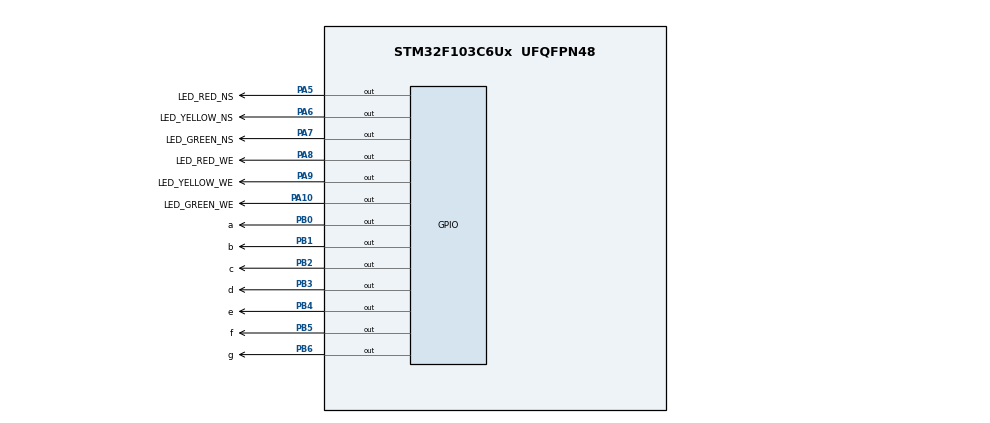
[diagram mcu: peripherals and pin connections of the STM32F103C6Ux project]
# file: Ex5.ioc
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Mcu.Family=STM32F1
Mcu.Name=STM32F103C6Ux
Mcu.Package=UFQFPN48
NVIC.PriorityGroup=NVIC_PRIORITYGROUP_4
PA10.GPIO_Label=LED_GREEN_WE
PA10.Signal=GPIO_Output
PA5.GPIO_Label=LED_RED_NS
PA5.Signal=GPIO_Output
PA6.GPIO_Label=LED_YELLOW_NS
PA6.Signal=GPIO_Output
PA7.GPIO_Label=LED_GREEN_NS
PA7.Signal=GPIO_Output
PA8.GPIO_Label=LED_RED_WE
PA8.Signal=GPIO_Output
PA9.GPIO_Label=LED_YELLOW_WE
PA9.Signal=GPIO_Output
PB0.GPIO_Label=a
PB0.Signal=GPIO_Output
PB1.GPIO_Label=b
PB1.Signal=GPIO_Output
PB2.GPIO_Label=c
PB2.Signal=GPIO_Output
PB3.GPIO_Label=d
PB3.Signal=GPIO_Output
PB4.GPIO_Label=e
PB4.Signal=GPIO_Output
PB5.GPIO_Label=f
PB5.Signal=GPIO_Output
PB6.GPIO_Label=g
PB6.Signal=GPIO_Output
ProjectManager.HeapSize=0x200
ProjectManager.StackSize=0x400
ProjectManager.TargetToolchain=STM32CubeIDE
RCC.APB1Freq_Value=8000000
RCC.APB2Freq_Value=8000000
VP_SYS_VS_ND.Mode=No_Debug
board=custom

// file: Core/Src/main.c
/* USER CODE BEGIN Header */
/**
  ******************************************************************************
  * @file           : main.c
  * @brief          : Main program body
  ******************************************************************************
  * @attention
  *
  * <h2><center>&copy; Copyright (c) 2024 STMicroelectronics.
  * All rights reserved.</center></h2>
  *
  * This software component is licensed by ST under BSD 3-Clause license,
  * the "License"; You may not use this file except in compliance with the
  * License. You may obtain a copy of the License at:
  *                        opensource.org/licenses/BSD-3-Clause
  *
  ******************************************************************************
  */
/* USER CODE END Header */
#include "main.h"

void SystemClock_Config(void);
static void MX_GPIO_Init(void);

void display7SEG(int num)
{
	//display 0
	if(num == 0){
		HAL_GPIO_WritePin(a_GPIO_Port, a_Pin, RESET);
		HAL_GPIO_WritePin(b_GPIO_Port, b_Pin, RESET);
		HAL_GPIO_WritePin(c_GPIO_Port, c_Pin, RESET);
		HAL_GPIO_WritePin(d_GPIO_Port, d_Pin, RESET);
		HAL_GPIO_WritePin(e_GPIO_Port, e_Pin, RESET);
		HAL_GPIO_WritePin(f_GPIO_Port, f_Pin, RESET);
		HAL_GPIO_WritePin(g_GPIO_Port, g_Pin, SET);
	}
	//display 1
	else if(num == 1){
		HAL_GPIO_WritePin(a_GPIO_Port, a_Pin, SET);
		HAL_GPIO_WritePin(b_GPIO_Port, b_Pin, RESET);
		HAL_GPIO_WritePin(c_GPIO_Port, c_Pin, RESET);
		HAL_GPIO_WritePin(d_GPIO_Port, d_Pin, SET);
		HAL_GPIO_WritePin(e_GPIO_Port, e_Pin, SET);
		HAL_GPIO_WritePin(f_GPIO_Port, f_Pin, SET);
		HAL_GPIO_WritePin(g_GPIO_Port, g_Pin, SET);
	}
	//display 2
	else if(num == 2){
		HAL_GPIO_WritePin(a_GPIO_Port, a_Pin, RESET);
		HAL_GPIO_WritePin(b_GPIO_Port, b_Pin, RESET);
		HAL_GPIO_WritePin(c_GPIO_Port, c_Pin, SET);
		HAL_GPIO_WritePin(d_GPIO_Port, d_Pin, RESET);
		HAL_GPIO_WritePin(e_GPIO_Port, e_Pin, RESET);
		HAL_GPIO_WritePin(f_GPIO_Port, f_Pin, SET);
		HAL_GPIO_WritePin(g_GPIO_Port, g_Pin, RESET);
	}
	//display 3
	else if(num == 3){
		HAL_GPIO_WritePin(a_GPIO_Port, a_Pin, RESET);
		HAL_GPIO_WritePin(b_GPIO_Port, b_Pin, RESET);
		HAL_GPIO_WritePin(c_GPIO_Port, c_Pin, RESET);
		HAL_GPIO_WritePin(d_GPIO_Port, d_Pin, RESET);
		HAL_GPIO_WritePin(e_GPIO_Port, e_Pin, SET);
		HAL_GPIO_WritePin(f_GPIO_Port, f_Pin, SET);
		HAL_GPIO_WritePin(g_GPIO_Port, g_Pin, RESET);
	}
	//display 4
	else if( num == 4){
		HAL_GPIO_WritePin(a_GPIO_Port, a_Pin, SET);
		HAL_GPIO_WritePin(b_GPIO_Port, b_Pin, RESET);
		HAL_GPIO_WritePin(c_GPIO_Port, c_Pin, RESET);
		HAL_GPIO_WritePin(d_GPIO_Port, d_Pin, SET);
		HAL_GPIO_WritePin(e_GPIO_Port, e_Pin, SET);
		HAL_GPIO_WritePin(f_GPIO_Port, f_Pin, RESET);
		HAL_GPIO_WritePin(g_GPIO_Port, g_Pin, RESET);
	}
	//display 5
	else if(num == 5){
		HAL_GPIO_WritePin(a_GPIO_Port, a_Pin, RESET);
		HAL_GPIO_WritePin(b_GPIO_Port, b_Pin, SET);
		HAL_GPIO_WritePin(c_GPIO_Port, c_Pin, RESET);
		HAL_GPIO_WritePin(d_GPIO_Port, d_Pin, RESET);
		HAL_GPIO_WritePin(e_GPIO_Port, e_Pin, SET);
		HAL_GPIO_WritePin(f_GPIO_Port, f_Pin, RESET);
		HAL_GPIO_WritePin(g_GPIO_Port, g_Pin, RESET);
	}
	//display 6
	else if(num == 6){
		HAL_GPIO_WritePin(a_GPIO_Port, a_Pin, RESET);
		HAL_GPIO_WritePin(b_GPIO_Port, b_Pin, SET);
		HAL_GPIO_WritePin(c_GPIO_Port, c_Pin, RESET);
		HAL_GPIO_WritePin(d_GPIO_Port, d_Pin, RESET);
		HAL_GPIO_WritePin(e_GPIO_Port, e_Pin, RESET);
		HAL_GPIO_WritePin(f_GPIO_Port, f_Pin, RESET);
		HAL_GPIO_WritePin(g_GPIO_Port, g_Pin, RESET);
	}
	//display 7
	else if(num == 7){
		HAL_GPIO_WritePin(a_GPIO_Port, a_Pin, RESET);
		HAL_GPIO_WritePin(b_GPIO_Port, b_Pin, RESET);
		HAL_GPIO_WritePin(c_GPIO_Port, c_Pin, RESET);
		HAL_GPIO_WritePin(d_GPIO_Port, d_Pin, SET);
		HAL_GPIO_WritePin(e_GPIO_Port, e_Pin, SET);
		HAL_GPIO_WritePin(f_GPIO_Port, f_Pin, SET);
		HAL_GPIO_WritePin(g_GPIO_Port, g_Pin, SET);
	}
	//display 8
	else if (num == 8 ){
		HAL_GPIO_WritePin(a_GPIO_Port, a_Pin, RESET);
		HAL_GPIO_WritePin(b_GPIO_Port, b_Pin, RESET);
		HAL_GPIO_WritePin(c_GPIO_Port, c_Pin, RESET);
		HAL_GPIO_WritePin(d_GPIO_Port, d_Pin, RESET);
		HAL_GPIO_WritePin(e_GPIO_Port, e_Pin, RESET);
		HAL_GPIO_WritePin(f_GPIO_Port, f_Pin, RESET);
		HAL_GPIO_WritePin(g_GPIO_Port, g_Pin, RESET);
	}
	//display 9
	else if (num == 9 ){
		HAL_GPIO_WritePin(a_GPIO_Port, a_Pin, RESET);
		HAL_GPIO_WritePin(b_GPIO_Port, b_Pin, RESET);
		HAL_GPIO_WritePin(c_GPIO_Port, c_Pin, RESET);
		HAL_GPIO_WritePin(d_GPIO_Port, d_Pin, RESET);
		HAL_GPIO_WritePin(e_GPIO_Port, e_Pin, SET);
		HAL_GPIO_WritePin(f_GPIO_Port, f_Pin, RESET);
		HAL_GPIO_WritePin(g_GPIO_Port, g_Pin, RESET);
	}
}
int main(void)
{

  /* MCU Configuration--------------------------------------------------------*/

  /* Reset of all peripherals, Initializes the Flash interface and the Systick. */
  HAL_Init();

  /* Configure the system clock */
  SystemClock_Config();

  /* Initialize all configured peripherals */
  MX_GPIO_Init();

  /* Infinite loop */
  /* USER CODE BEGIN WHILE */
  int Time = 3;
  int State = 0;
  int counter = 5;
  while (1)
  {

	  Time -= 1;
	  counter -= 1;
	  switch(State){
	  case 0: // NS: RED ON AND WE: GREEN ON 3S
		  HAL_GPIO_WritePin(LED_RED_NS_GPIO_Port, LED_RED_NS_Pin, GPIO_PIN_RESET);
		  HAL_GPIO_WritePin(LED_YELLOW_NS_GPIO_Port, LED_YELLOW_NS_Pin, GPIO_PIN_SET);
		  HAL_GPIO_WritePin(LED_GREEN_NS_GPIO_Port, LED_GREEN_NS_Pin, GPIO_PIN_SET);

		  HAL_GPIO_WritePin(LED_RED_WE_GPIO_Port, LED_RED_WE_Pin, GPIO_PIN_SET);
		  HAL_GPIO_WritePin(LED_YELLOW_WE_GPIO_Port, LED_YELLOW_WE_Pin, GPIO_PIN_SET);
		  HAL_GPIO_WritePin(LED_GREEN_WE_GPIO_Port, LED_GREEN_WE_Pin, GPIO_PIN_RESET);

		  display7SEG(counter);
		  if (Time <= 0){
			  Time = 2;
			  State = 1;
		  }
		  break;
	  case 1: // WE: RED ON AND NS: YELLOW ON 2S
		  HAL_GPIO_WritePin(LED_RED_NS_GPIO_Port, LED_RED_NS_Pin, GPIO_PIN_RESET);
		  HAL_GPIO_WritePin(LED_YELLOW_NS_GPIO_Port, LED_YELLOW_NS_Pin, GPIO_PIN_SET);
		  HAL_GPIO_WritePin(LED_GREEN_NS_GPIO_Port, LED_GREEN_NS_Pin, GPIO_PIN_SET);

		  HAL_GPIO_WritePin(LED_RED_WE_GPIO_Port, LED_RED_WE_Pin, GPIO_PIN_SET);
		  HAL_GPIO_WritePin(LED_YELLOW_WE_GPIO_Port, LED_YELLOW_WE_Pin, GPIO_PIN_RESET);
		  HAL_GPIO_WritePin(LED_GREEN_WE_GPIO_Port, LED_GREEN_WE_Pin, GPIO_PIN_SET);

		  display7SEG(counter);
		  if (Time <= 0 && counter <= 0){
			  Time = 3;
			  State = 2;
			  counter = 5;
		  }
		  break;
	  case 2:
		  HAL_GPIO_WritePin(LED_RED_WE_GPIO_Port, LED_RED_WE_Pin, GPIO_PIN_RESET);
		  HAL_GPIO_WritePin(LED_YELLOW_WE_GPIO_Port, LED_YELLOW_WE_Pin, GPIO_PIN_SET);
		  HAL_GPIO_WritePin(LED_GREEN_WE_GPIO_Port, LED_GREEN_WE_Pin, GPIO_PIN_SET);

		  HAL_GPIO_WritePin(LED_RED_NS_GPIO_Port, LED_RED_NS_Pin, GPIO_PIN_SET);
		  HAL_GPIO_WritePin(LED_YELLOW_NS_GPIO_Port, LED_YELLOW_NS_Pin, GPIO_PIN_SET);
		  HAL_GPIO_WritePin(LED_GREEN_NS_GPIO_Port, LED_GREEN_NS_Pin, GPIO_PIN_RESET);

		  display7SEG(counter);
		  if (Time <= 0){
			  Time = 2;
			  State = 3;
		  }
		  break;
	  case 3: // WE: RED ON AND NS: YELLOW ON
		  HAL_GPIO_WritePin(LED_RED_WE_GPIO_Port, LED_RED_WE_Pin, GPIO_PIN_RESET);
		  HAL_GPIO_WritePin(LED_YELLOW_WE_GPIO_Port, LED_YELLOW_WE_Pin, GPIO_PIN_SET);
		  HAL_GPIO_WritePin(LED_GREEN_WE_GPIO_Port, LED_GREEN_WE_Pin, GPIO_PIN_SET);

		  HAL_GPIO_WritePin(LED_RED_NS_GPIO_Port, LED_RED_NS_Pin, GPIO_PIN_SET);
		  HAL_GPIO_WritePin(LED_YELLOW_NS_GPIO_Port, LED_YELLOW_NS_Pin, GPIO_PIN_RESET);
		  HAL_GPIO_WritePin(LED_GREEN_NS_GPIO_Port, LED_GREEN_NS_Pin, GPIO_PIN_SET);

		  display7SEG(counter);
		  if (Time <= 0 && counter <= 0){
			  Time = 3;
			  State = 0;
			  counter = 5;
		  }
		  break;
	  }

	  HAL_Delay(1000);
    /* USER CODE END WHILE */

  }
}

void SystemClock_Config(void)
{
  RCC_OscInitTypeDef RCC_OscInitStruct = {0};
  RCC_ClkInitTypeDef RCC_ClkInitStruct = {0};

  /** Initializes the RCC Oscillators according to the specified parameters
  * in the RCC_OscInitTypeDef structure.
  */
  RCC_OscInitStruct.OscillatorType = RCC_OSCILLATORTYPE_HSI;
  RCC_OscInitStruct.HSIState = RCC_HSI_ON;
  RCC_OscInitStruct.HSICalibrationValue = RCC_HSICALIBRATION_DEFAULT;
  RCC_OscInitStruct.PLL.PLLState = RCC_PLL_NONE;
  if (HAL_RCC_OscConfig(&RCC_OscInitStruct) != HAL_OK)
  {
    Error_Handler();
  }
  /** Initializes the CPU, AHB and APB buses clocks
  */
  RCC_ClkInitStruct.ClockType = RCC_CLOCKTYPE_HCLK|RCC_CLOCKTYPE_SYSCLK
                              |RCC_CLOCKTYPE_PCLK1|RCC_CLOCKTYPE_PCLK2;
  RCC_ClkInitStruct.SYSCLKSource = RCC_SYSCLKSOURCE_HSI;
  RCC_ClkInitStruct.AHBCLKDivider = RCC_SYSCLK_DIV1;
  RCC_ClkInitStruct.APB1CLKDivider = RCC_HCLK_DIV1;
  RCC_ClkInitStruct.APB2CLKDivider = RCC_HCLK_DIV1;

  if (HAL_RCC_ClockConfig(&RCC_ClkInitStruct, FLASH_LATENCY_0) != HAL_OK)
  {
    Error_Handler();
  }
}

static void MX_GPIO_Init(void)
{
  GPIO_InitTypeDef GPIO_InitStruct = {0};

  /* GPIO Ports Clock Enable */
  __HAL_RCC_GPIOA_CLK_ENABLE();
  __HAL_RCC_GPIOB_CLK_ENABLE();

  /*Configure GPIO pin Output Level */
  HAL_GPIO_WritePin(GPIOA, LED_RED_NS_Pin|LED_YELLOW_NS_Pin|LED_GREEN_NS_Pin|LED_RED_WE_Pin
                          |LED_YELLOW_WE_Pin|LED_GREEN_WE_Pin, GPIO_PIN_RESET);

  /*Configure GPIO pin Output Level */
  HAL_GPIO_WritePin(GPIOB, a_Pin|b_Pin|c_Pin|d_Pin
                          |e_Pin|f_Pin|g_Pin, GPIO_PIN_RESET);

  /*Configure GPIO pins : LED_RED_NS_Pin LED_YELLOW_NS_Pin LED_GREEN_NS_Pin LED_RED_WE_Pin
                           LED_YELLOW_WE_Pin LED_GREEN_WE_Pin */
  GPIO_InitStruct.Pin = LED_RED_NS_Pin|LED_YELLOW_NS_Pin|LED_GREEN_NS_Pin|LED_RED_WE_Pin
                          |LED_YELLOW_WE_Pin|LED_GREEN_WE_Pin;
  GPIO_InitStruct.Mode = GPIO_MODE_OUTPUT_PP;
  GPIO_InitStruct.Pull = GPIO_NOPULL;
  GPIO_InitStruct.Speed = GPIO_SPEED_FREQ_LOW;
  HAL_GPIO_Init(GPIOA, &GPIO_InitStruct);

  /*Configure GPIO pins : a_Pin b_Pin c_Pin d_Pin
                           e_Pin f_Pin g_Pin */
  GPIO_InitStruct.Pin = a_Pin|b_Pin|c_Pin|d_Pin
                          |e_Pin|f_Pin|g_Pin;
  GPIO_InitStruct.Mode = GPIO_MODE_OUTPUT_PP;
  GPIO_InitStruct.Pull = GPIO_NOPULL;
  GPIO_InitStruct.Speed = GPIO_SPEED_FREQ_LOW;
  HAL_GPIO_Init(GPIOB, &GPIO_InitStruct);

}

void Error_Handler(void)
{
  __disable_irq();
  while (1)
  {
  }
}

/************************ (C) COPYRIGHT STMicroelectronics *****END OF FILE****/
